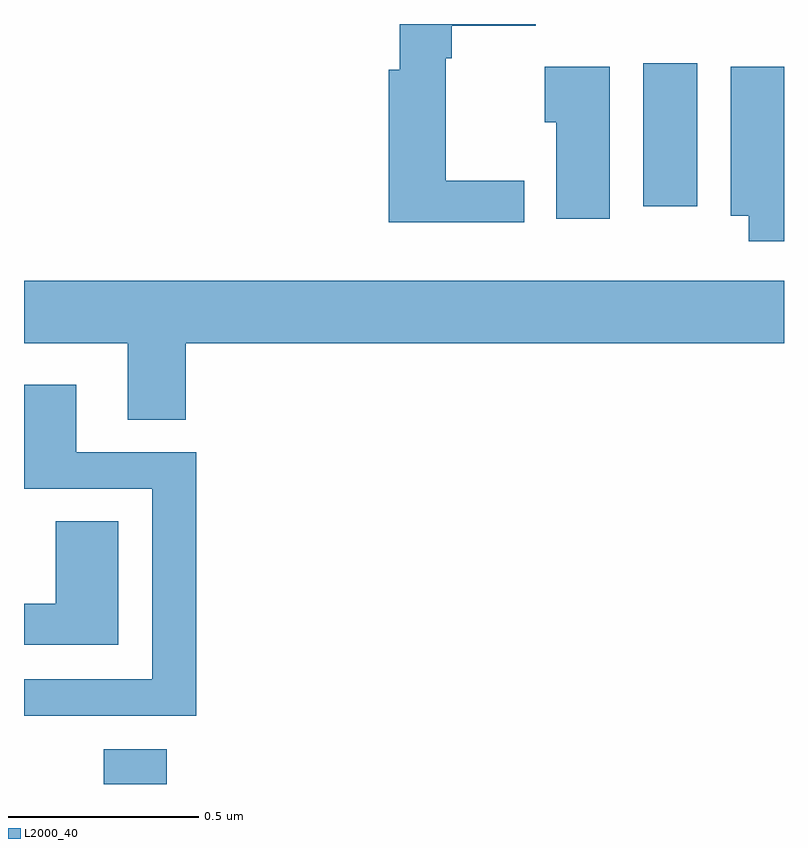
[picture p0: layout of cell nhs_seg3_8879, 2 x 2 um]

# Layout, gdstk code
import gdstk
lib = gdstk.Library(unit=1e-6, precision=1e-09)
def R(c, l, rs):  # rectangles x0, y0, x1, y1
    for r in rs: c.add(gdstk.rectangle(r[:2], r[2:], *l))
def P(c, l, *ps):  # polygons
    for p in ps: c.add(gdstk.Polygon(p, *l))
L2000_40 = (2000, 40)

nhs_seg3_8879 = lib.new_cell('nhs_seg3_8879')
R(nhs_seg3_8879, L2000_40, [(221.21,722.4,221.375,722.491), (222.629,723.921,222.772,724.297)])
P(nhs_seg3_8879, L2000_40, [(222.316,723.988),(222.11,723.988),(222.11,724.31),(222.125,724.31),(222.125,724.395),(222.347,724.395),(222.347,724.4),(221.989,724.4),(221.989,724.279),(221.96,724.279),(221.96,723.878),(222.316,723.878)],
  [(223,724.288),(222.86,724.288),(222.86,723.896),(222.907,723.896),(222.907,723.828),(223,723.828)],
  [(222.541,724.288),(222.371,724.288),(222.371,724.141),(222.401,724.141),(222.401,723.888),(222.541,723.888)],
  [(221.426,723.56),(223,723.56),(223,723.724),(221,723.724),(221,723.56),(221.273,723.56),(221.273,723.358),(221.426,723.358)],
  [(221.126,722.58),(221.453,722.58),(221.453,723.273),(221.137,723.273),(221.137,723.451),(221,723.451),(221,723.177),(221.337,723.177),(221.337,722.676),(221,722.676),(221,722.579),(221.126,722.579)],
  [(221.248,723.092),(221.084,723.092),(221.084,722.875),(221,722.875),(221,722.766),(221.248,722.766)])

lib.write_gds('nhs_seg3_8879.gds')
